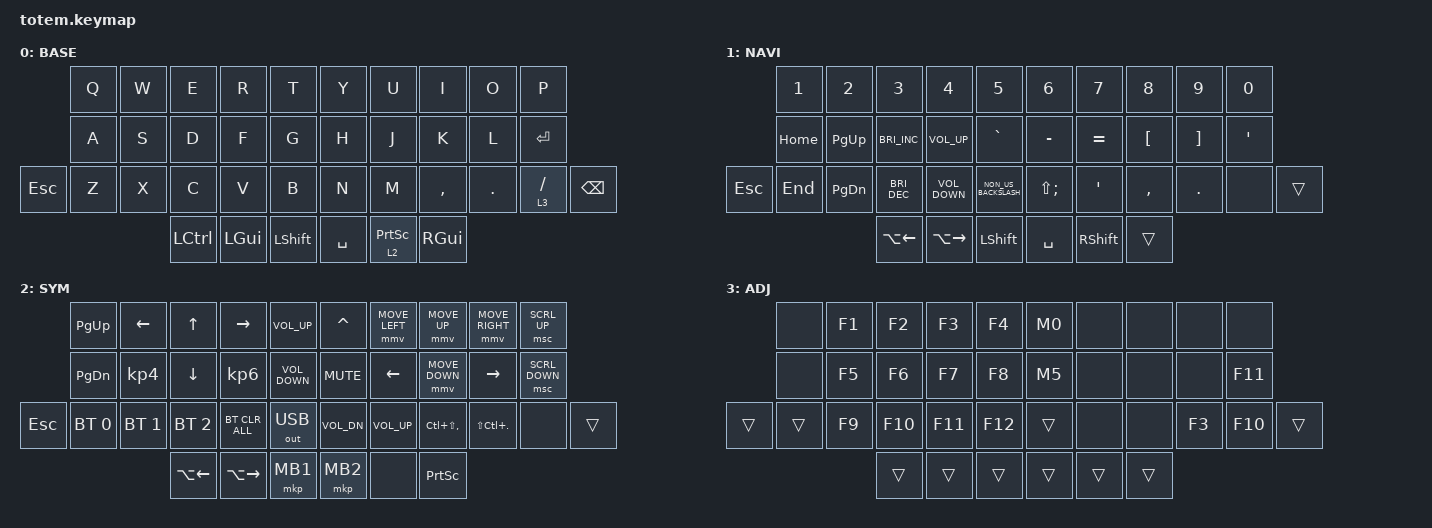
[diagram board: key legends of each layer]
//
//                                                        ▀▀▀▀▀     ▀▀▀▀▀          ▀▀█▀▀
//                                                        ▄▀▀▀▄  ▄  ▄▀▀▀▄  ▄  ▄▀▀▀▄  █  ▄▀▀▀▄
//                                                        █   █  █  █   █  █  █   █  █  █   █
//                                                         ▀▀▀   █   ▀▀▀   █   ▀▀▀   ▀   ▀▀▀
//                                                               █      ▄▄▄█▄▄▄    █   █  
//                                                               ▀      █  █  █     █▄█
//                                                             ▀▀▀▀▀    █  █  █      ▀
//                                                                      ▀  ▀  ▀
//
// ▄▄▄▄▄▄▄▄▄▄▄▄▄▄▄▄▄▄▄▄▄▄▄▄▄▄▄▄▄▄▄▄▄▄▄▄▄▄▄▄▄▄▄▄▄▄▄▄▄▄▄▄▄▄▄▄▄▄▄▄▄▄▄▄▄▄▄▄▄▄▄▄▄▄▄▄▄▄▄▄▄▄▄▄▄▄▄▄▄▄▄▄▄▄▄▄▄▄▄▄▄▄▄▄▄▄▄▄▄▄▄▄▄▄▄▄▄▄▄▄▄▄▄▄▄▄▄▄▄▄▄▄▄▄▄▄▄▄▄▄▄▄▄▄▄▄▄▄▄

#include <behaviors.dtsi>
#include <dt-bindings/zmk/bt.h>
#include <dt-bindings/zmk/keys.h>
#include <dt-bindings/zmk/outputs.h>
#include <dt-bindings/zmk/pointing.h>

#define BASE 0
#define NAV  1
#define SYM  2
#define ADJ  3
#define TVP1 4
#define TVP2 5

&mt {
    quick-tap-ms = <100>;
    global-quick-tap;
    flavor = "tap-preferred";
    tapping-term-ms = <170>;
};

/ {
    combos {
        compatible = "zmk,combos";

        Number1 {
            bindings = <&kp NUMBER_1>;
            key-positions = <0 10>;
        };

        Number2 {
            bindings = <&kp NUMBER_2>;
            key-positions = <1 11>;
        };

        Number3 {
            bindings = <&kp NUMBER_3>;
            key-positions = <2 12>;
        };

        Number4 {
            bindings = <&kp NUMBER_4>;
            key-positions = <3 13>;
        };

        Number5 {
            bindings = <&kp N5>;
            key-positions = <4 14>;
        };

        Number6 {
            bindings = <&kp NUMBER_6>;
            key-positions = <5 15>;
        };

        Number7 {
            bindings = <&kp N7>;
            key-positions = <6 16>;
        };

        Number8 {
            bindings = <&kp N8>;
            key-positions = <7 17>;
        };

        Number9 {
            bindings = <&kp N9>;
            key-positions = <8 18>;
        };

        Number0 {
            bindings = <&kp N0>;
            key-positions = <9 19>;
        };

        Backspace1 {
            bindings = <&kp BACKSPACE>;
            key-positions = <3 4>;
        };

        Backspace2 {
            bindings = <&kp BACKSPACE>;
            key-positions = <8 9>;
        };

        Enter2 {
            bindings = <&kp ENTER>;
            key-positions = <18 19>;
        };

        Enter1 {
            bindings = <&kp ENTER>;
            key-positions = <13 14>;
        };

        Delete {
            bindings = <&kp DELETE>;
            key-positions = <9 7>;
        };
    };

    behaviors {
        hm: hm {
            compatible = "zmk,behavior-hold-tap";
            label = "HM";
            bindings = <&none>, <&none>;

            #binding-cells = <2>;
            tapping-term-ms = <200>;
            flavor = "tap-preferred";
        };
    };

    keymap {
        compatible = "zmk,keymap";

        // ▄▄▄▄▄▄▄▄▄▄▄▄▄▄▄▄▄▄▄▄▄▄▄▄▄▄▄▄▄▄▄▄▄▄▄▄▄▄▄▄▄▄▄▄▄▄▄▄▄▄▄▄▄▄▄▄▄▄▄▄▄▄▄▄▄▄▄▄▄▄▄▄▄▄▄▄▄▄▄▄▄▄▄▄▄▄▄▄▄▄▄▄▄▄▄▄▄▄▄▄▄▄▄▄▄▄▄▄▄▄▄▄▄▄▄▄▄▄▄▄▄▄▄▄▄▄▄▄▄▄▄▄▄▄▄▄▄▄▄▄▄▄▄▄▄▄▄▄▄

        Default {
            // ┏━━━━━━━━━━━━━━━━━━━━━━━━━━━━━━━━━━━━━━━┓

            label = "BASE";

            // ┗━━━━━━━━━━━━━━━━━━━━━━━━━━━━━━━━━━━━━━━┛
            //             ┏━━━━━━━━━━━┳━━━━━━━━━━━┳━━━━━━━━━━━┳━━━━━━━━━━━┳━━━━━━━━━━━┓   ┏━━━━━━━━━━━┳━━━━━━━━━━━┳━━━━━━━━━━━┳━━━━━━━━━━━┳━━━━━━━━━━━┓
            //             ┃     Q     ┃     W     ┃     F     ┃     P     ┃     G     ┃   ┃     J     ┃     L     ┃     U     ┃     Y     ┃     ;     ┃
            //             ┣━━━━━━━━━━━╋━━━━━━━━━━━╋━━━━━━━━━━━╋━━━━━━━━━━━╋━━━━━━━━━━━┫   ┣━━━━━━━━━━━╋━━━━━━━━━━━╋━━━━━━━━━━━╋━━━━━━━━━━━╋━━━━━━━━━━━┫
            //             ┃     A     ┃     R     ┃     S     ┃     T     ┃     D     ┃   ┃     H     ┃     N     ┃     E     ┃     I     ┃     O     ┃
            // ┏━━━━━━━━━━━╋━━━━━━━━━━━╋━━━━━━━━━━━╋━━━━━━━━━━━╋━━━━━━━━━━━╋━━━━━━━━━━━┫   ┣━━━━━━━━━━━╋━━━━━━━━━━━╋━━━━━━━━━━━╋━━━━━━━━━━━╋━━━━━━━━━━━╋━━━━━━━━━━━┓
            // ┃     Q     ┃     Z     ┃     X     ┃     C     ┃     V     ┃     B     ┃   ┃     K     ┃     M     ┃     ,     ┃     .     ┃     /     ┃     \     ┃
            // ┗━━━━━━━━━━━┻━━━━━━━━━━━┻━━━━━━━━━━━╋━━━━━━━━━━━╋━━━━━━━━━━━╋━━━━━━━━━━━┫   ┣━━━━━━━━━━━╋━━━━━━━━━━━╋━━━━━━━━━━━╋━━━━━━━━━━━┻━━━━━━━━━━━┻━━━━━━━━━━━┛
            //                                     ┃    DEL    ┃    TAB    ┃    SPC    ┃   ┃   ENTER   ┃           ┃   BSPC    ┃
            //                                     ┗━━━━━━━━━━━┻━━━━━━━━━━━┻━━━━━━━━━━━┛   ┗━━━━━━━━━━━┻━━━━━━━━━━━┻━━━━━━━━━━━┛

            bindings = <
         &kp Q  &kp W  &kp E      &kp R     &kp T        &kp Y      &kp U              &kp I          &kp O    &kp P
         &kp A  &kp S  &kp D      &kp F     &kp G        &kp H      &kp J              &kp K          &kp L    &kp ENTER
&kp ESC  &kp Z  &kp X  &kp C      &kp V     &kp B        &kp N      &kp M              &kp COMMA      &kp DOT  &lt 3 SLASH  &kp BSPC
                       &kp LCTRL  &kp LGUI  &kp LSHFT    &kp SPACE  &lt 2 PRINTSCREEN  &kp RIGHT_GUI
            >;
        };

        // ▄▄▄▄▄▄▄▄▄▄▄▄▄▄▄▄▄▄▄▄▄▄▄▄▄▄▄▄▄▄▄▄▄▄▄▄▄▄▄▄▄▄▄▄▄▄▄▄▄▄▄▄▄▄▄▄▄▄▄▄▄▄▄▄▄▄▄▄▄▄▄▄▄▄▄▄▄▄▄▄▄▄▄▄▄▄▄▄▄▄▄▄▄▄▄▄▄▄▄▄▄▄▄▄▄▄▄▄▄▄▄▄▄▄▄▄▄▄▄▄▄▄▄▄▄▄▄▄▄▄▄▄▄▄▄▄▄▄▄▄▄▄▄▄▄▄▄▄▄

        Number {
            // ┏━━━━━━━━━━━━━━━━━━━━━━━━━━━━━━━━━━━━━━━┓

            label = "NAVI";

            // ┗━━━━━━━━━━━━━━━━━━━━━━━━━━━━━━━━━━━━━━━┛
            //             ┏━━━━━━━━━━━┳━━━━━━━━━━━┳━━━━━━━━━━━┳━━━━━━━━━━━┳━━━━━━━━━━━┓   ┏━━━━━━━━━━━┳━━━━━━━━━━━┳━━━━━━━━━━━┳━━━━━━━━━━━┳━━━━━━━━━━━┓
            //             ┃           ┃           ┃     UP    ┃           ┃     {     ┃   ┃     }     ┃     7     ┃     8     ┃     9     ┃     +     ┃
            //             ┣━━━━━━━━━━━╋━━━━━━━━━━━╋━━━━━━━━━━━╋━━━━━━━━━━━╋━━━━━━━━━━━┫   ┣━━━━━━━━━━━╋━━━━━━━━━━━╋━━━━━━━━━━━╋━━━━━━━━━━━╋━━━━━━━━━━━┫
            //             ┃   SHIFT   ┃   LEFT    ┃    DOWN   ┃   RIGHT   ┃     [     ┃   ┃     ]     ┃     4     ┃     5     ┃     6     ┃     -     ┃
            // ┏━━━━━━━━━━━╋━━━━━━━━━━━╋━━━━━━━━━━━╋━━━━━━━━━━━╋━━━━━━━━━━━╋━━━━━━━━━━━┫   ┣━━━━━━━━━━━╋━━━━━━━━━━━╋━━━━━━━━━━━╋━━━━━━━━━━━╋━━━━━━━━━━━╋━━━━━━━━━━━┓
            // ┃           ┃           ┃   P UP    ┃  C LOCK   ┃  P DOWN   ┃     (     ┃   ┃     )     ┃     1     ┃     2     ┃     3     ┃     *     ┃           ┃
            // ┗━━━━━━━━━━━┻━━━━━━━━━━━┻━━━━━━━━━━━╋━━━━━━━━━━━╋━━━━━━━━━━━╋━━━━━━━━━━━┫   ┣━━━━━━━━━━━╋━━━━━━━━━━━╋━━━━━━━━━━━╋━━━━━━━━━━━┻━━━━━━━━━━━┻━━━━━━━━━━━┛
            //                                     ┃           ┃    TAB    ┃    SPC    ┃   ┃    DEL    ┃     0     ┃           ┃
            //                                     ┗━━━━━━━━━━━┻━━━━━━━━━━━┻━━━━━━━━━━━┛   ┗━━━━━━━━━━━┻━━━━━━━━━━━┻━━━━━━━━━━━┛

            bindings = <
            &kp NUMBER_1  &kp NUMBER_2   &kp NUMBER_3          &kp NUMBER_4         &kp N5                  &kp NUMBER_6       &kp N7      &kp N8            &kp N9             &kp N0
            &kp HOME      &kp PAGE_UP    &kp C_BRIGHTNESS_INC  &kp C_VOLUME_UP      &kp GRAVE               &kp MINUS          &kp EQUAL   &kp LEFT_BRACKET  &kp RIGHT_BRACKET  &kp SQT
&kp ESCAPE  &kp END       &kp PAGE_DOWN  &kp C_BRIGHTNESS_DEC  &kp C_VOLUME_DOWN    &kp NON_US_BACKSLASH    &kp LS(SEMICOLON)  &kp SQT     &kp COMMA         &kp PERIOD         &none    &trans
                                         &kp LA(LEFT_ARROW)    &kp LA(RIGHT_ARROW)  &kp LEFT_SHIFT          &kp SPACE          &kp RSHIFT  &trans
            >;
        };

        // ▄▄▄▄▄▄▄▄▄▄▄▄▄▄▄▄▄▄▄▄▄▄▄▄▄▄▄▄▄▄▄▄▄▄▄▄▄▄▄▄▄▄▄▄▄▄▄▄▄▄▄▄▄▄▄▄▄▄▄▄▄▄▄▄▄▄▄▄▄▄▄▄▄▄▄▄▄▄▄▄▄▄▄▄▄▄▄▄▄▄▄▄▄▄▄▄▄▄▄▄▄▄▄▄▄▄▄▄▄▄▄▄▄▄▄▄▄▄▄▄▄▄▄▄▄▄▄▄▄▄▄▄▄▄▄▄▄▄▄▄▄▄▄▄▄▄▄▄▄

        ArrowAndMouse {
            // ┏━━━━━━━━━━━━━━━━━━━━━━━━━━━━━━━━━━━━━━━┓

            label = "SYM";

            // ┗━━━━━━━━━━━━━━━━━━━━━━━━━━━━━━━━━━━━━━━┛
            //             ┏━━━━━━━━━━━┳━━━━━━━━━━━┳━━━━━━━━━━━┳━━━━━━━━━━━┳━━━━━━━━━━━┓   ┏━━━━━━━━━━━┳━━━━━━━━━━━┳━━━━━━━━━━━┳━━━━━━━━━━━┳━━━━━━━━━━━┓
            //             ┃     !     ┃     @     ┃     #     ┃     $     ┃     %     ┃   ┃     ˆ     ┃     &     ┃     Ü     ┃     '     ┃     "     ┃
            //             ┣━━━━━━━━━━━╋━━━━━━━━━━━╋━━━━━━━━━━━╋━━━━━━━━━━━╋━━━━━━━━━━━┫   ┣━━━━━━━━━━━╋━━━━━━━━━━━╋━━━━━━━━━━━╋━━━━━━━━━━━╋━━━━━━━━━━━┫
            //             ┃     Ä     ┃           ┃    SZ     ┃           ┃           ┃   ┃   MUTE    ┃   YEN     ┃   EURO    ┃  POUND    ┃     Ö     ┃
            // ┏━━━━━━━━━━━╋━━━━━━━━━━━╋━━━━━━━━━━━╋━━━━━━━━━━━╋━━━━━━━━━━━╋━━━━━━━━━━━┫   ┣━━━━━━━━━━━╋━━━━━━━━━━━╋━━━━━━━━━━━╋━━━━━━━━━━━╋━━━━━━━━━━━╋━━━━━━━━━━━┓
            // ┃           ┃  EMAIL1   ┃  EMAIL2   ┃           ┃           ┃           ┃   ┃   VOL-    ┃   VOL+    ┃   LAST    ┃   NEXT    ┃     \     ┃           ┃
            // ┗━━━━━━━━━━━┻━━━━━━━━━━━┻━━━━━━━━━━━╋━━━━━━━━━━━╋━━━━━━━━━━━╋━━━━━━━━━━━┫   ┣━━━━━━━━━━━╋━━━━━━━━━━━╋━━━━━━━━━━━╋━━━━━━━━━━━┻━━━━━━━━━━━┻━━━━━━━━━━━┛
            //                                     ┃           ┃    GIF    ┃    ADJ    ┃   ┃           ┃           ┃           ┃
            //                                     ┗━━━━━━━━━━━┻━━━━━━━━━━━┻━━━━━━━━━━━┛   ┗━━━━━━━━━━━┻━━━━━━━━━━━┻━━━━━━━━━━━┛

            bindings = <
            &kp PAGE_UP    &kp LEFT_ARROW   &kp UP              &kp RIGHT_ARROW      &kp C_VOLUME_UP      &kp CARET     &mmv MOVE_LEFT  &mmv MOVE_UP       &mmv MOVE_RIGHT     &msc SCRL_UP
            &kp PAGE_DOWN  &kp KP_NUMBER_4  &kp DOWN_ARROW      &kp KP_NUMBER_6      &kp C_VOLUME_DOWN    &kp C_MUTE    &kp LEFT        &mmv MOVE_DOWN     &kp RIGHT           &msc SCRL_DOWN
&kp ESCAPE  &bt BT_SEL 0   &bt BT_SEL 1     &bt BT_SEL 2        &bt BT_CLR_ALL       &out OUT_USB         &kp C_VOL_DN  &kp C_VOL_UP    &kp LC(LS(COMMA))  &kp LS(LC(PERIOD))  &none           &trans
                                            &kp LA(LEFT_ARROW)  &kp LA(RIGHT_ARROW)  &mkp MB1             &mkp MB2      &none           &kp PRINTSCREEN
            >;
        };

        // ▄▄▄▄▄▄▄▄▄▄▄▄▄▄▄▄▄▄▄▄▄▄▄▄▄▄▄▄▄▄▄▄▄▄▄▄▄▄▄▄▄▄▄▄▄▄▄▄▄▄▄▄▄▄▄▄▄▄▄▄▄▄▄▄▄▄▄▄▄▄▄▄▄▄▄▄▄▄▄▄▄▄▄▄▄▄▄▄▄▄▄▄▄▄▄▄▄▄▄▄▄▄▄▄▄▄▄▄▄▄▄▄▄▄▄▄▄▄▄▄▄▄▄▄▄▄▄▄▄▄▄▄▄▄▄▄▄▄▄▄▄▄▄▄▄▄▄▄▄

        FuncAndMacro {
            // ┏━━━━━━━━━━━━━━━━━━━━━━━━━━━━━━━━━━━━━━━┓

            label = "ADJ";

            // ┗━━━━━━━━━━━━━━━━━━━━━━━━━━━━━━━━━━━━━━━┛
            //             ┏━━━━━━━━━━━┳━━━━━━━━━━━┳━━━━━━━━━━━┳━━━━━━━━━━━┳━━━━━━━━━━━┓   ┏━━━━━━━━━━━┳━━━━━━━━━━━┳━━━━━━━━━━━┳━━━━━━━━━━━┳━━━━━━━━━━━┓
            //             ┃   RESET   ┃ BT CLEAR  ┃  OUT TOG  ┃           ┃           ┃   ┃           ┃    F7     ┃    F8     ┃    F9     ┃    F12    ┃
            //             ┣━━━━━━━━━━━╋━━━━━━━━━━━╋━━━━━━━━━━━╋━━━━━━━━━━━╋━━━━━━━━━━━┫   ┣━━━━━━━━━━━╋━━━━━━━━━━━╋━━━━━━━━━━━╋━━━━━━━━━━━╋━━━━━━━━━━━┫
            //             ┃ BOOTLOAD  ┃ BT NEXT   ┃           ┃           ┃           ┃   ┃           ┃    F4     ┃    F5     ┃    F6     ┃    F11    ┃
            // ┏━━━━━━━━━━━╋━━━━━━━━━━━╋━━━━━━━━━━━╋━━━━━━━━━━━╋━━━━━━━━━━━╋━━━━━━━━━━━┫   ┣━━━━━━━━━━━╋━━━━━━━━━━━╋━━━━━━━━━━━╋━━━━━━━━━━━╋━━━━━━━━━━━╋━━━━━━━━━━━┓
            // ┃           ┃           ┃ BT PREV   ┃           ┃           ┃           ┃   ┃           ┃    F1     ┃    F2     ┃    F3     ┃    F10    ┃           ┃
            // ┗━━━━━━━━━━━┻━━━━━━━━━━━┻━━━━━━━━━━━╋━━━━━━━━━━━╋━━━━━━━━━━━╋━━━━━━━━━━━┫   ┣━━━━━━━━━━━╋━━━━━━━━━━━╋━━━━━━━━━━━╋━━━━━━━━━━━┻━━━━━━━━━━━┻━━━━━━━━━━━┛
            //                                     ┃           ┃           ┃           ┃   ┃           ┃           ┃           ┃
            //                                     ┗━━━━━━━━━━━┻━━━━━━━━━━━┻━━━━━━━━━━━┛   ┗━━━━━━━━━━━┻━━━━━━━━━━━┻━━━━━━━━━━━┛

            bindings = <
        &none   &kp F1  &kp F2   &kp F3   &kp F4     &M0     &none   &none   &none   &none
        &none   &kp F5  &kp F6   &kp F7   &kp F8     &M5     &none   &none   &none   &kp F11
&trans  &trans  &kp F9  &kp F10  &kp F11  &kp F12    &trans  &none   &none   &kp F3  &kp F10  &trans
                        &trans   &trans   &trans     &trans  &trans  &trans
            >;
        };

        // ▄▄▄▄▄▄▄▄▄▄▄▄▄▄▄▄▄▄▄▄▄▄▄▄▄▄▄▄▄▄▄▄▄▄▄▄▄▄▄▄▄▄▄▄▄▄▄▄▄▄▄▄▄▄▄▄▄▄▄▄▄▄▄▄▄▄▄▄▄▄▄▄▄▄▄▄▄▄▄▄▄▄▄▄▄▄▄▄▄▄▄▄▄▄▄▄▄▄▄▄▄▄▄▄▄▄▄▄▄▄▄▄▄▄▄▄▄▄▄▄▄▄▄▄▄▄▄▄▄▄▄▄▄▄▄▄▄▄▄▄▄▄▄▄▄▄▄▄▄
        // ▄▄▄▄▄▄▄▄▄▄▄▄▄▄▄▄▄▄▄▄▄▄▄▄▄▄▄▄▄▄▄▄▄▄▄▄▄▄▄▄▄▄▄▄▄▄▄▄▄▄▄▄▄▄▄▄▄▄▄▄▄▄▄▄▄▄▄▄▄▄▄▄▄▄▄▄▄▄▄▄▄▄▄▄▄▄▄▄▄▄▄▄▄▄▄▄▄▄▄▄▄▄▄▄▄▄▄▄▄▄▄▄▄▄▄▄▄▄▄▄▄▄▄▄▄▄▄▄▄▄▄▄▄▄▄▄▄▄▄▄▄▄▄▄▄▄▄▄▄
    };
};
